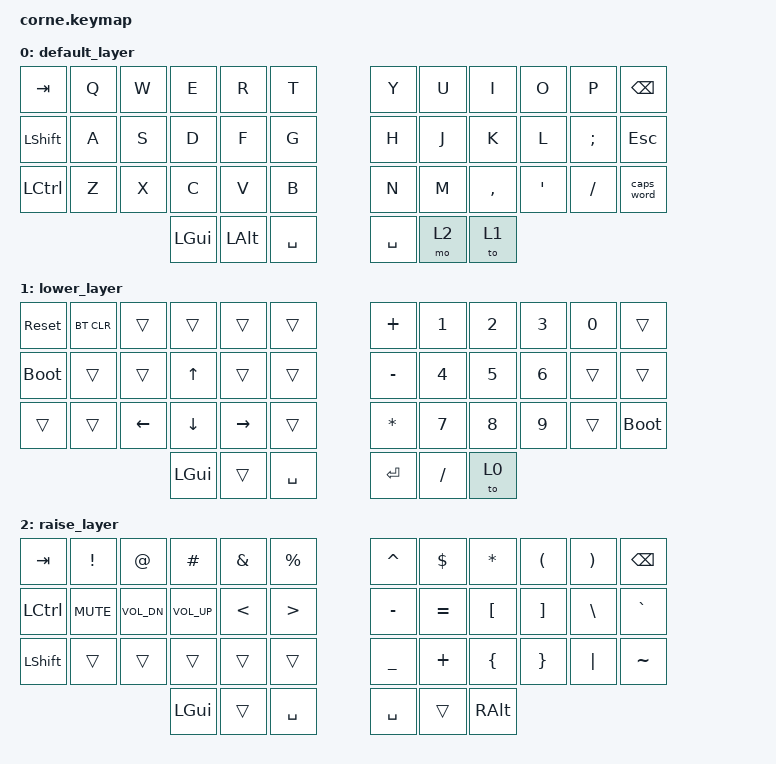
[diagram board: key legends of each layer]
/*
 * Copyright (c) 2020 The ZMK Contributors
 *
 * SPDX-License-Identifier: MIT
 */

#include <behaviors.dtsi>
#include <dt-bindings/zmk/bt.h>
#include <dt-bindings/zmk/keys.h>

/ {
    combos {
        compatible = "zmk,combos";

        Escape {
            bindings = <&kp ESC>;
            key-positions = <0 11>;
        };

        OpenParenthesis {
            bindings = <&kp LEFT_PARENTHESIS>;
            key-positions = <6 7>;
        };

        OpenBrace {
            bindings = <&kp LEFT_BRACE>;
            key-positions = <18 19>;
        };

        OpenBracket {
            bindings = <&kp LEFT_BRACKET>;
            key-positions = <30 31>;
        };

        CloseParenthesis {
            bindings = <&kp RIGHT_PARENTHESIS>;
            key-positions = <8 7>;
        };

        CloseBrace {
            bindings = <&kp RIGHT_BRACE>;
            key-positions = <19 20>;
        };

        CloseBracket {
            bindings = <&kp RIGHT_BRACKET>;
            key-positions = <31 32>;
        };

        LessThan {
            bindings = <&kp LESS_THAN>;
            key-positions = <3 4>;
        };

        GreatherThan {
            bindings = <&kp GREATER_THAN>;
            key-positions = <4 5>;
        };

        Enter {
            bindings = <&kp ENTER>;
            key-positions = <38 39>;
        };

        flash_left {
            bindings = <&bootloader>;
            key-positions = <37 36 3>;
        };

        flash_right {
            bindings = <&none>;
            key-positions = <11 10 6 39>;
            layers = <1>;
        };
    };

    keymap {
        compatible = "zmk,keymap";

        default_layer {
            // -----------------------------------------------------------------------------------------
            // |  TAB |  Q  |  W  |  E  |  R  |  T  |   |  Y  |  U   |  I  |  O  |  P  | BSPC |
            // | SHFT |  A  |  S  |  D  |  F  |  G  |   |  H  |  J   |  K  |  L  |  ;  | ESC  |
            // | CTRL |  Z  |  X  |  C  |  V  |  B  |   |  N  |  M   |  ,  |  '  |  /  | CAPS |
            //                    | GUI | ALT | SPC |   | SPC | L2   | L1  |

            bindings = <
&kp TAB    &kp Q  &kp W  &kp E     &kp R     &kp T        &kp Y      &kp U  &kp I      &kp O    &kp P     &kp BSPC
&kp LSHFT  &kp A  &kp S  &kp D     &kp F     &kp G        &kp H      &kp J  &kp K      &kp L    &kp SEMI  &kp ESC
&kp LCTRL  &kp Z  &kp X  &kp C     &kp V     &kp B        &kp N      &kp M  &kp COMMA  &kp SQT  &kp FSLH  &caps_word
                         &kp LGUI  &kp LALT  &kp SPACE    &kp SPACE  &mo 2  &to 1
            >;
        };

        lower_layer {
            // -----------------------------------------------------------------------------------------
            // | SYSR |     |     |     |     |     |   |  +  |  1  |  2  |  3  |  0  |      |
            // | BOOT |     |     | UP  |     |     |   |  -  |  4  |  5  |  6  |     |      |
            // |      |     | LFT | DWN | RGT |     |   |  * |  7  |  8  |  9  |     |      |
            //                    |     |     | SPC |   | ENT |  /  | L0  |

            bindings = <
&sys_reset   &bt BT_CLR  &trans    &trans    &trans     &trans       &kp PLUS      &kp N1     &kp N2  &kp N3  &kp N0  &trans
&bootloader  &trans      &trans    &kp UP    &trans     &trans       &kp MINUS     &kp N4     &kp N5  &kp N6  &trans  &trans
&trans       &trans      &kp LEFT  &kp DOWN  &kp RIGHT  &trans       &kp ASTERISK  &kp N7     &kp N8  &kp N9  &trans  &bootloader
                                   &kp LGUI  &trans     &kp SPACE    &kp ENTER     &kp SLASH  &to 0
            >;
        };

        raise_layer {
            // -----------------------------------------------------------------------------------------
            // |  TAB |  !  |  @  |  #  |  &  |  %  |   |  ^  |  $  |  * |  (  |  )  | BSPC |
            // | CTRL |MUTE |V_UP |V_DWN|  <  |  >  |   |  -  |  =  |  [  |  ]  |  \  |  `   |
            // | SHFT |     |     |     |     |     |   |  _  |  +  |  {  |  }  | "|" |  ~   |
            //                    | GUI |     | SPC |   | SPC |     | ALT |

            bindings = <
&kp TAB    &kp EXCL    &kp AT        &kp HASH      &kp AMPERSAND  &kp PRCNT    &kp CARET  &kp DOLLAR  &kp ASTRK  &kp LPAR  &kp RPAR  &kp BSPC
&kp LCTRL  &kp C_MUTE  &kp C_VOL_DN  &kp C_VOL_UP  &kp LESS_THAN  &kp GT       &kp MINUS  &kp EQUAL   &kp LBKT   &kp RBKT  &kp BSLH  &kp GRAVE
&kp LSHFT  &trans      &trans        &trans        &trans         &trans       &kp UNDER  &kp PLUS    &kp LBRC   &kp RBRC  &kp PIPE  &kp TILDE
                                     &kp LGUI      &trans         &kp SPACE    &kp SPACE  &trans      &kp RALT
            >;
        };
    };
};
